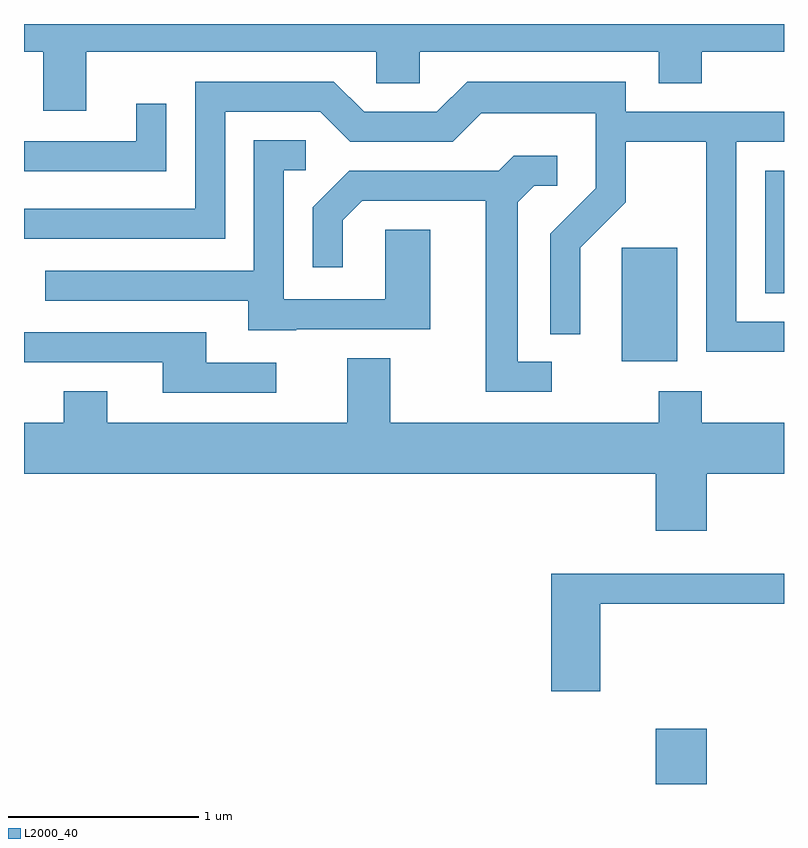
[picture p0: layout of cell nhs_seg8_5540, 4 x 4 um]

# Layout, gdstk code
import gdstk
lib = gdstk.Library(unit=1e-6, precision=1e-09)
def R(c, l, rs):  # rectangles x0, y0, x1, y1
    for r in rs: c.add(gdstk.rectangle(r[:2], r[2:], *l))
def P(c, l, *ps):  # polygons
    for p in ps: c.add(gdstk.Polygon(p, *l))
L2000_40 = (2000, 40)

nhs_seg8_5540 = lib.new_cell('nhs_seg8_5540')
R(nhs_seg8_5540, L2000_40, [(354.936,1830.342,355.204,1830.634), (354.756,1832.566,355.049,1833.164), (355.511,1832.926,355.611,1833.569)])
P(nhs_seg8_5540, L2000_40, [(351.939,1834.196),(353.466,1834.196),(353.466,1834.031),(353.694,1834.031),(353.694,1834.196),(354.951,1834.196),(354.951,1834.031),(355.179,1834.031),(355.179,1834.196),(355.611,1834.196),(355.611,1834.342),(351.611,1834.342),(351.611,1834.196),(351.711,1834.196),(351.711,1833.886),(351.939,1833.886)],
  [(355.611,1832.774),(355.359,1832.774),(355.359,1833.721),(355.611,1833.721),(355.611,1833.879),(354.779,1833.879),(354.779,1834.039),(353.944,1834.039),(353.784,1833.879),(353.402,1833.879),(353.242,1834.039),(352.511,1834.039),(352.511,1833.369),(351.611,1833.369),(351.611,1833.211),(352.669,1833.211),(352.669,1833.881),(353.169,1833.881),(353.329,1833.721),(353.867,1833.721),(354.017,1833.871),(354.621,1833.871),(354.621,1833.477),(354.381,1833.237),(354.381,1832.708),(354.539,1832.708),(354.539,1833.164),(354.779,1833.404),(354.779,1833.721),(355.201,1833.721),(355.201,1832.616),(355.611,1832.616)],
  [(352.359,1833.923),(352.201,1833.923),(352.201,1833.724),(351.611,1833.724),(351.611,1833.566),(352.359,1833.566)],
  [(353.045,1832.736),(353.749,1832.736),(353.749,1833.259),(353.511,1833.259),(353.511,1832.894),(352.979,1832.894),(352.979,1833.571),(353.093,1833.571),(353.093,1833.729),(352.821,1833.729),(352.821,1833.044),(351.723,1833.044),(351.723,1832.886),(352.791,1832.886),(352.791,1832.731),(353.045,1832.731)],
  [(354.388,1832.564),(354.209,1832.564),(354.209,1833.404),(354.297,1833.491),(354.418,1833.491),(354.418,1833.649),(354.189,1833.649),(354.109,1833.569),(353.324,1833.569),(353.131,1833.377),(353.131,1833.063),(353.289,1833.063),(353.289,1833.309),(353.392,1833.411),(354.041,1833.411),(354.041,1832.406),(354.388,1832.406)],
  [(352.938,1832.559),(352.569,1832.559),(352.569,1832.719),(351.611,1832.719),(351.611,1832.561),(352.341,1832.561),(352.341,1832.401),(352.938,1832.401)],
  [(355.204,1831.976),(355.611,1831.976),(355.611,1832.244),(355.179,1832.244),(355.179,1832.409),(354.951,1832.409),(354.951,1832.244),(353.539,1832.244),(353.539,1832.584),(353.311,1832.584),(353.311,1832.244),(352.049,1832.244),(352.049,1832.409),(351.821,1832.409),(351.821,1832.244),(351.611,1832.244),(351.611,1831.976),(354.936,1831.976),(354.936,1831.676),(355.204,1831.676)],
  [(354.644,1831.291),(355.611,1831.291),(355.611,1831.449),(354.386,1831.449),(354.386,1830.831),(354.644,1830.831)])

lib.write_gds('nhs_seg8_5540.gds')
